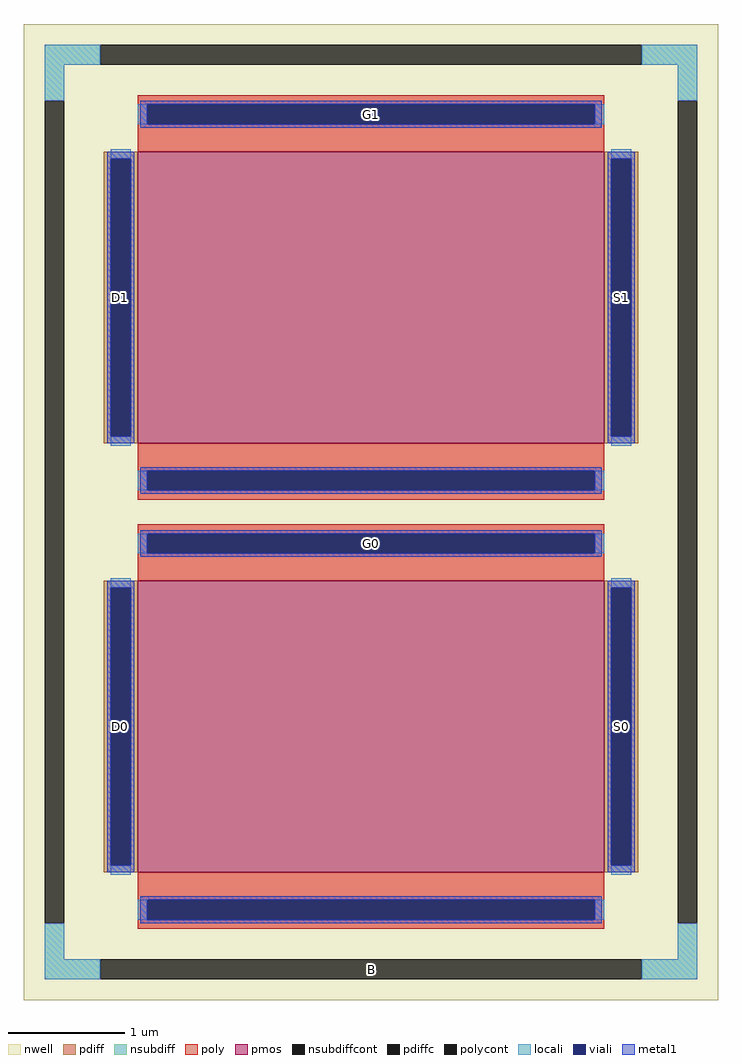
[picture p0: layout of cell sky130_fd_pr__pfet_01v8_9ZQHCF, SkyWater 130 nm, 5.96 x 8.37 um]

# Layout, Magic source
magic
tech sky130A
magscale 1 2
<< nwell >>
rect -596 -837 596 837
<< pmos >>
rect -400 118 400 618
rect -400 -618 400 -118
<< pdiff >>
rect -458 606 -400 618
rect -458 130 -446 606
rect -412 130 -400 606
rect -458 118 -400 130
rect 400 606 458 618
rect 400 130 412 606
rect 446 130 458 606
rect 400 118 458 130
rect -458 -130 -400 -118
rect -458 -606 -446 -130
rect -412 -606 -400 -130
rect -458 -618 -400 -606
rect 400 -130 458 -118
rect 400 -606 412 -130
rect 446 -606 458 -130
rect 400 -618 458 -606
<< pdiffc >>
rect -446 130 -412 606
rect 412 130 446 606
rect -446 -606 -412 -130
rect 412 -606 446 -130
<< nsubdiff >>
rect -560 767 -464 801
rect 464 767 560 801
rect -560 705 -526 767
rect 526 705 560 767
rect -560 -767 -526 -705
rect 526 -767 560 -705
rect -560 -801 -464 -767
rect 464 -801 560 -767
<< nsubdiffcont >>
rect -464 767 464 801
rect -560 -705 -526 705
rect 526 -705 560 705
rect -464 -801 464 -767
<< poly >>
rect -400 699 400 715
rect -400 665 -384 699
rect 384 665 400 699
rect -400 618 400 665
rect -400 71 400 118
rect -400 37 -384 71
rect 384 37 400 71
rect -400 21 400 37
rect -400 -37 400 -21
rect -400 -71 -384 -37
rect 384 -71 400 -37
rect -400 -118 400 -71
rect -400 -665 400 -618
rect -400 -699 -384 -665
rect 384 -699 400 -665
rect -400 -715 400 -699
<< polycont >>
rect -384 665 384 699
rect -384 37 384 71
rect -384 -71 384 -37
rect -384 -699 384 -665
<< locali >>
rect -560 767 -464 801
rect 464 767 560 801
rect -560 705 -526 767
rect 526 705 560 767
rect -400 665 -384 699
rect 384 665 400 699
rect -446 606 -412 622
rect -446 114 -412 130
rect 412 606 446 622
rect 412 114 446 130
rect -400 37 -384 71
rect 384 37 400 71
rect -400 -71 -384 -37
rect 384 -71 400 -37
rect -446 -130 -412 -114
rect -446 -622 -412 -606
rect 412 -130 446 -114
rect 412 -622 446 -606
rect -400 -699 -384 -665
rect 384 -699 400 -665
rect -560 -767 -526 -705
rect 526 -767 560 -705
rect -560 -801 -464 -767
rect 464 -801 560 -767
<< viali >>
rect -384 665 384 699
rect -446 130 -412 606
rect 412 130 446 606
rect -384 37 384 71
rect -384 -71 384 -37
rect -446 -606 -412 -130
rect 412 -606 446 -130
rect -384 -699 384 -665
<< metal1 >>
rect -396 699 396 705
rect -396 665 -384 699
rect 384 665 396 699
rect -396 659 396 665
rect -452 606 -406 618
rect -452 130 -446 606
rect -412 130 -406 606
rect -452 118 -406 130
rect 406 606 452 618
rect 406 130 412 606
rect 446 130 452 606
rect 406 118 452 130
rect -396 71 396 77
rect -396 37 -384 71
rect 384 37 396 71
rect -396 31 396 37
rect -396 -37 396 -31
rect -396 -71 -384 -37
rect 384 -71 396 -37
rect -396 -77 396 -71
rect -452 -130 -406 -118
rect -452 -606 -446 -130
rect -412 -606 -406 -130
rect -452 -618 -406 -606
rect 406 -130 452 -118
rect 406 -606 412 -130
rect 446 -606 452 -130
rect 406 -618 452 -606
rect -396 -665 396 -659
rect -396 -699 -384 -665
rect 384 -699 396 -665
rect -396 -705 396 -699
<< labels >>
rlabel nsubdiffcont 0 -784 0 -784 0 B
port 1 nsew
rlabel pdiffc -429 -368 -429 -368 0 D0
port 2 nsew
rlabel pdiffc 429 -368 429 -368 0 S0
port 3 nsew
rlabel polycont 0 -54 0 -54 0 G0
port 4 nsew
rlabel pdiffc -429 368 -429 368 0 D1
port 5 nsew
rlabel pdiffc 429 368 429 368 0 S1
port 6 nsew
rlabel polycont 0 682 0 682 0 G1
port 7 nsew
<< properties >>
string FIXED_BBOX -543 -784 543 784
string gencell sky130_fd_pr__pfet_01v8
string library sky130
string parameters w 2.5 l 4.0 m 2 nf 1 diffcov 100 polycov 100 guard 1 glc 1 grc 1 gtc 1 gbc 1 tbcov 100 rlcov 100 topc 1 botc 1 poverlap 0 doverlap 1 lmin 0.15 wmin 0.42 class mosfet compatible {sky130_fd_pr__pfet_01v8  sky130_fd_pr__pfet_01v8_lvt sky130_fd_pr__pfet_01v8_hvt  sky130_fd_pr__pfet_g5v0d10v5} full_metal 1 conn_gates 0 viasrc 100 viadrn 100 viagate 100 viagb 0 viagr 0 viagl 0 viagt 0 doports 1
<< end >>
